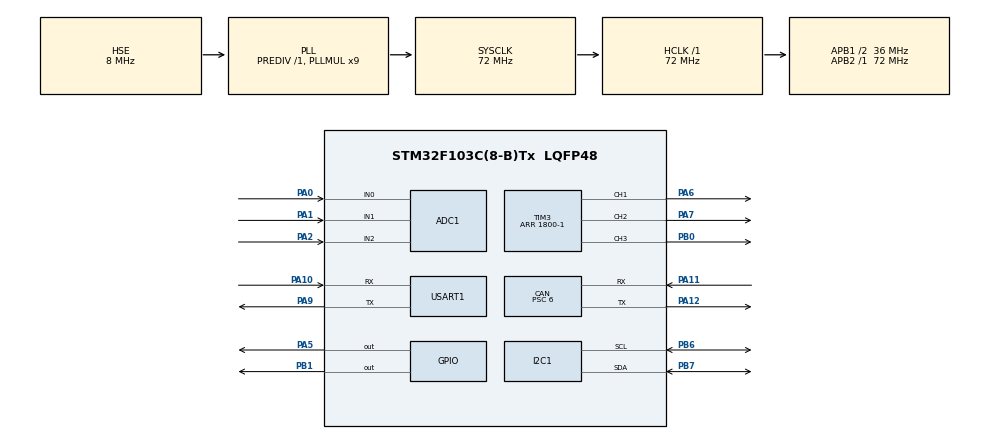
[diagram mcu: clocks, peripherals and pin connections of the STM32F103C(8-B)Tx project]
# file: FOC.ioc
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ADC1.Channel-0\#ChannelRegularConversion=ADC_CHANNEL_0
ADC1.Channel-1\#ChannelRegularConversion=ADC_CHANNEL_1
ADC1.Channel-2\#ChannelRegularConversion=ADC_CHANNEL_2
ADC1.ContinuousConvMode=ENABLE
ADC1.ExternalTrigConv=ADC_SOFTWARE_START
ADC1.NbrOfConversion=3
ADC1.NbrOfConversionFlag=1
ADC1.Rank-0\#ChannelRegularConversion=1
ADC1.Rank-1\#ChannelRegularConversion=2
ADC1.Rank-2\#ChannelRegularConversion=3
ADC1.SamplingTime-0\#ChannelRegularConversion=ADC_SAMPLETIME_1CYCLE_5
ADC1.SamplingTime-1\#ChannelRegularConversion=ADC_SAMPLETIME_1CYCLE_5
ADC1.SamplingTime-2\#ChannelRegularConversion=ADC_SAMPLETIME_1CYCLE_5
ADC1.master=1
CAN.BS1=CAN_BS1_3TQ
CAN.BS2=CAN_BS2_2TQ
CAN.CalculateBaudRate=999999
CAN.CalculateTimeBit=1000
CAN.CalculateTimeQuantum=166.66666666666669
CAN.Mode=CAN_MODE_NORMAL
CAN.Prescaler=6
Dma.ADC1.0.Direction=DMA_PERIPH_TO_MEMORY
Dma.ADC1.0.Instance=DMA1_Channel1
Dma.ADC1.0.MemDataAlignment=DMA_MDATAALIGN_HALFWORD
Dma.ADC1.0.MemInc=DMA_MINC_ENABLE
Dma.ADC1.0.Mode=DMA_CIRCULAR
Dma.ADC1.0.PeriphDataAlignment=DMA_PDATAALIGN_HALFWORD
Dma.ADC1.0.PeriphInc=DMA_PINC_DISABLE
Dma.ADC1.0.Priority=DMA_PRIORITY_LOW
Dma.Request0=ADC1
I2C1.I2C_Mode=I2C_Fast
Mcu.Family=STM32F1
Mcu.Name=STM32F103C(8-B)Tx
Mcu.Package=LQFP48
NVIC.CAN1_RX1_IRQn=true\:0\:0\:false\:false\:true\:true\:true\:true
NVIC.PriorityGroup=NVIC_PRIORITYGROUP_4
NVIC.TIM1_BRK_IRQn=true\:1\:0\:true\:false\:true\:true\:true\:true
NVIC.TIM1_CC_IRQn=true\:1\:0\:true\:false\:true\:true\:true\:true
NVIC.TIM1_TRG_COM_IRQn=true\:1\:0\:true\:false\:true\:true\:true\:true
NVIC.TIM1_UP_IRQn=true\:1\:0\:true\:false\:true\:true\:true\:true
NVIC.TIM3_IRQn=true\:0\:0\:false\:false\:true\:true\:true\:true
NVIC.USART1_IRQn=true\:0\:0\:false\:false\:true\:true\:true\:true
NVIC.USB_LP_CAN1_RX0_IRQn=true\:0\:0\:false\:false\:true\:true\:true\:true
PA0-WKUP.Signal=ADCx_IN0
PA1.Signal=ADCx_IN1
PA10.GPIO_PuPd=GPIO_PULLUP
PA10.Mode=Asynchronous
PA10.Signal=USART1_RX
PA11.Mode=CAN_Activate
PA11.Signal=CAN_RX
PA12.Mode=CAN_Activate
PA12.Signal=CAN_TX
PA13.Mode=Serial_Wire
PA13.Signal=SYS_JTMS-SWDIO
PA14.Mode=Serial_Wire
PA14.Signal=SYS_JTCK-SWCLK
PA2.Signal=ADCx_IN2
PA5.Signal=GPIO_Output
PA6.Signal=S_TIM3_CH1
PA7.Signal=S_TIM3_CH2
PA9.Mode=Asynchronous
PA9.Signal=USART1_TX
PB0.Signal=S_TIM3_CH3
PB1.Signal=GPIO_Output
PB6.Mode=I2C
PB6.Signal=I2C1_SCL
PB7.Mode=I2C
PB7.Signal=I2C1_SDA
PD0-OSC_IN.Mode=HSE-External-Oscillator
PD0-OSC_IN.Signal=RCC_OSC_IN
PD1-OSC_OUT.Mode=HSE-External-Oscillator
PD1-OSC_OUT.Signal=RCC_OSC_OUT
ProjectManager.HeapSize=0x200
ProjectManager.StackSize=0x400
ProjectManager.TargetToolchain=STM32CubeIDE
RCC.ADCPresc=RCC_ADCPCLK2_DIV6
RCC.AHBFreq_Value=72000000
RCC.APB1CLKDivider=RCC_HCLK_DIV2
RCC.APB1Freq_Value=36000000
RCC.APB1TimFreq_Value=72000000
RCC.APB2Freq_Value=72000000
RCC.APB2TimFreq_Value=72000000
RCC.HCLKFreq_Value=72000000
RCC.PLLMUL=RCC_PLL_MUL9
RCC.PLLSourceVirtual=RCC_PLLSOURCE_HSE
RCC.SYSCLKFreq_VALUE=72000000
RCC.SYSCLKSource=RCC_SYSCLKSOURCE_PLLCLK
RCC.USBFreq_Value=72000000
SH.ADCx_IN0.0=ADC1_IN0,IN0
SH.ADCx_IN1.0=ADC1_IN1,IN1
SH.ADCx_IN2.0=ADC1_IN2,IN2
SH.S_TIM3_CH1.0=TIM3_CH1,PWM Generation1 CH1
SH.S_TIM3_CH2.0=TIM3_CH2,PWM Generation2 CH2
SH.S_TIM3_CH3.0=TIM3_CH3,PWM Generation3 CH3
TIM1.Period=100-1
TIM1.Prescaler=36-1
TIM3.Channel-PWM\ Generation1\ CH1=TIM_CHANNEL_1
TIM3.Channel-PWM\ Generation2\ CH2=TIM_CHANNEL_2
TIM3.Channel-PWM\ Generation3\ CH3=TIM_CHANNEL_3
TIM3.Channel-PWM\ Generation4\ No\ Output=TIM_CHANNEL_4
TIM3.CounterMode=TIM_COUNTERMODE_CENTERALIGNED1
TIM3.OCMode_PWM-PWM\ Generation4\ No\ Output=TIM_OCMODE_PWM2
TIM3.Period=1800-1
TIM3.TIM_MasterOutputTrigger=TIM_TRGO_RESET
USART1.VirtualMode=VM_ASYNC
VP_TIM1_VS_ClockSourceINT.Mode=Internal
VP_TIM3_VS_ClockSourceINT.Mode=Internal
VP_TIM3_VS_no_output4.Mode=PWM Generation4 No Output
board=custom

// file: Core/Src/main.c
/* USER CODE BEGIN Header */
/**
  ******************************************************************************
  * @file           : main.c
  * @brief          : Main program body
  ******************************************************************************
  */
/* USER CODE END Header */
#include "main.h"
#include "adc.h"
#include "can.h"
#include "dma.h"
#include "i2c.h"
#include "tim.h"
#include "usart.h"
#include "gpio.h"

/* USER CODE BEGIN Includes */
#include "Foc.h"
#include "drv_tim.h"
#include "drv_can.h"
#include "can_proto.h"
#include "motor_msg.h"
#include "uart_proto.h"
#include "motor_ctrl.h"
#include "angle_as5600.h"
#include "pwm_3phase.h"
#include "motor_config.h"
#include "flash_storage.h"
#include "led_indicator.h"
/* 差分法观测器（角度直通，速度差分） */
/* #include "observer_diff.h" */
/* 龙伯格观测器（二阶模型，同时滤波位置和速度） */
#include "observer_luenberger.h"
/* USER CODE END Includes */

/* USER CODE BEGIN PD */

/** @brief FOC 控制频率 (Hz) —— 观测器和 FOC 共用的唯一频率源头 */
#define FOC_RATE_HZ  1000.0f

/* USER CODE END PD */

/* USER CODE BEGIN PV */
float vofa_message[8];
/* USER CODE END PV */

void SystemClock_Config(void);
/* USER CODE BEGIN PFP */
static void IWDG_Init(void);
#if MOTOR_COMMUNICATION_ENABLED
static void VOFA_SendDebug(void);
#endif
#if MOTOR_OPEN_LOOP_TEST_ACTIVE
static uint8_t ResetOneShot_ConsumeArm(void);
#endif
#if MOTOR_DIAGNOSTIC_D1
static uint8_t D1_ResetSequence_ConsumeArm(void);
static void D1_DiagnosticStep(void);
#endif
#if MOTOR_DIAGNOSTIC_D2
static uint8_t D2_ResetSequence_ConsumeArm(void);
static void D2_DiagnosticStep(void);
#endif
/* USER CODE END PFP */

/* USER CODE BEGIN 0 */
#if MOTOR_OPEN_LOOP_TEST_ACTIVE
/*
 * Two-reset safety latch for the temporary S1 capture build.
 *
 * A fresh boot (including the reset issued after ST-Link programming) writes
 * a two-word marker and remains fully disabled. Only the next manual reset
 * consumes that marker and permits one health-gated alignment attempt. The
 * marker is cleared before enabling the bridge, so a later reset arms again
 * instead of repeating the movement.
 */
#if MOTOR_SMARTKNOB_ENABLED
#define RESET_ARM_MARKER_A  0x5345U
#define RESET_ARM_MARKER_B  0x454BU
#elif MOTOR_S3B_STEP_ONE_SHOT
#define RESET_ARM_MARKER_A  0x5334U
#define RESET_ARM_MARKER_B  0x3448U
#elif MOTOR_S3_HOLD_ONE_SHOT
#define RESET_ARM_MARKER_A  0x5333U
#define RESET_ARM_MARKER_B  0x3348U
#elif MOTOR_S2_RESET_ONE_SHOT
#define RESET_ARM_MARKER_A  0x5332U
#define RESET_ARM_MARKER_B  0x3253U
#elif MOTOR_S2_OFFSET_COMMIT_ONE_SHOT
#define RESET_ARM_MARKER_A  0x5343U
#define RESET_ARM_MARKER_B  0x4353U
#else
#define RESET_ARM_MARKER_A  0x5341U
#define RESET_ARM_MARKER_B  0x314DU
#endif

static uint8_t ResetOneShot_ConsumeArm(void)
{
  uint16_t marker_a;
  uint16_t marker_b;
  uint8_t armed;

  __HAL_RCC_PWR_CLK_ENABLE();
  __HAL_RCC_BKP_CLK_ENABLE();
  PWR->CR |= PWR_CR_DBP;

  marker_a = BKP->DR1;
  marker_b = BKP->DR2;
  armed = (marker_a == RESET_ARM_MARKER_A && marker_b == RESET_ARM_MARKER_B) ? 1U : 0U;

  if (armed != 0U)
  {
    BKP->DR1 = 0U;
    BKP->DR2 = 0U;
  }
  else
  {
    BKP->DR1 = RESET_ARM_MARKER_A;
    BKP->DR2 = RESET_ARM_MARKER_B;
  }

  PWR->CR &= ~PWR_CR_DBP;
  return armed;
}
#endif

#if MOTOR_DIAGNOSTIC_D1
/*
 * D1 uses independent backup-register markers so a programming reset cannot
 * accidentally start the measurement. The first boot arms; only the next
 * manual reset consumes the arm and runs the finite diagnostic sequence.
 */
#define D1_ARM_MARKER_A  0x4431U
#define D1_ARM_MARKER_B  0x3144U

typedef enum
{
  D1_STATE_BASELINE = 0,
  D1_STATE_PWM_A,
  D1_STATE_QUIET_A,
  D1_STATE_PB1_ONLY,
  D1_STATE_QUIET_B,
  D1_STATE_PWM_B,
  D1_STATE_COMPLETE,
} D1_State_t;

static uint8_t g_d1_run_after_reset;

static uint8_t D1_ResetSequence_ConsumeArm(void)
{
  uint16_t marker_a;
  uint16_t marker_b;
  uint8_t armed;

  __HAL_RCC_PWR_CLK_ENABLE();
  __HAL_RCC_BKP_CLK_ENABLE();
  PWR->CR |= PWR_CR_DBP;

  marker_a = BKP->DR1;
  marker_b = BKP->DR2;
  armed = (marker_a == D1_ARM_MARKER_A && marker_b == D1_ARM_MARKER_B) ? 1U : 0U;

  if (armed != 0U)
  {
    BKP->DR1 = 0U;
    BKP->DR2 = 0U;
  }
  else
  {
    BKP->DR1 = D1_ARM_MARKER_A;
    BKP->DR2 = D1_ARM_MARKER_B;
  }

  PWR->CR &= ~PWR_CR_DBP;
  return armed;
}

static void D1_StopAllOutputs(void)
{
  HAL_GPIO_WritePin(GPIOB, GPIO_PIN_1, GPIO_PIN_RESET);
  __HAL_TIM_SetCompare(&htim3, TIM_CHANNEL_1, 0U);
  __HAL_TIM_SetCompare(&htim3, TIM_CHANNEL_2, 0U);
  __HAL_TIM_SetCompare(&htim3, TIM_CHANNEL_3, 0U);
  HAL_TIM_PWM_Stop(&htim3, TIM_CHANNEL_1);
  HAL_TIM_PWM_Stop(&htim3, TIM_CHANNEL_2);
  HAL_TIM_PWM_Stop(&htim3, TIM_CHANNEL_3);
}

static void D1_StartPwmOnly(void)
{
  uint32_t neutral_compare = htim3.Init.Period / 2U;

  /* PB1 stays low: these pulses must remain electrically non-driving. */
  HAL_GPIO_WritePin(GPIOB, GPIO_PIN_1, GPIO_PIN_RESET);
  __HAL_TIM_SetCompare(&htim3, TIM_CHANNEL_1, neutral_compare);
  __HAL_TIM_SetCompare(&htim3, TIM_CHANNEL_2, neutral_compare);
  __HAL_TIM_SetCompare(&htim3, TIM_CHANNEL_3, neutral_compare);
  HAL_TIM_PWM_Start(&htim3, TIM_CHANNEL_1);
  HAL_TIM_PWM_Start(&htim3, TIM_CHANNEL_2);
  HAL_TIM_PWM_Start(&htim3, TIM_CHANNEL_3);
}

static void D1_DiagnosticStep(void)
{
  static D1_State_t state = D1_STATE_BASELINE;
  static uint32_t state_start_ms;
  static uint8_t initialized;
  uint32_t now_ms = HAL_GetTick();

  if (initialized == 0U)
  {
    /* Start the baseline timer only after all peripherals are initialized. */
    D1_StopAllOutputs();
    state = D1_STATE_BASELINE;
    state_start_ms = now_ms;
    initialized = 1U;
  }

  if (g_d1_run_after_reset == 0U)
  {
    return;
  }

  switch (state)
  {
  case D1_STATE_BASELINE:
    if ((uint32_t)(now_ms - state_start_ms) >= MOTOR_DIAG_BASELINE_MS)
    {
      D1_StartPwmOnly();
      state = D1_STATE_PWM_A;
      state_start_ms = now_ms;
    }
    break;

  case D1_STATE_PWM_A:
    if ((uint32_t)(now_ms - state_start_ms) >= MOTOR_DIAG_PWM_WINDOW_MS)
    {
      D1_StopAllOutputs();
      state = D1_STATE_QUIET_A;
      state_start_ms = now_ms;
    }
    break;

  case D1_STATE_QUIET_A:
    if ((uint32_t)(now_ms - state_start_ms) >= MOTOR_DIAG_QUIET_MS)
    {
      /* PWM is explicitly stopped before this short PB1-only observation. */
      HAL_GPIO_WritePin(GPIOB, GPIO_PIN_1, GPIO_PIN_SET);
      state = D1_STATE_PB1_ONLY;
      state_start_ms = now_ms;
    }
    break;

  case D1_STATE_PB1_ONLY:
    if ((uint32_t)(now_ms - state_start_ms) >= MOTOR_DIAG_PB1_ONLY_MS)
    {
      D1_StopAllOutputs();
      state = D1_STATE_QUIET_B;
      state_start_ms = now_ms;
    }
    break;

  case D1_STATE_QUIET_B:
    if ((uint32_t)(now_ms - state_start_ms) >= MOTOR_DIAG_QUIET_MS)
    {
      D1_StartPwmOnly();
      state = D1_STATE_PWM_B;
      state_start_ms = now_ms;
    }
    break;

  case D1_STATE_PWM_B:
    if ((uint32_t)(now_ms - state_start_ms) >= MOTOR_DIAG_PWM_WINDOW_MS)
    {
      D1_StopAllOutputs();
      state = D1_STATE_COMPLETE;
      g_d1_run_after_reset = 0U;
    }
    break;

  case D1_STATE_COMPLETE:
  default:
    D1_StopAllOutputs();
    break;
  }
}
#endif
#if MOTOR_DIAGNOSTIC_D2
/*
 * D2 is a two-reset, finite diagnostic. It first shows PB1 alone, then PB1
 * with all three PWM outputs at the same 50% duty. It does not run the FOC
 * control loop, alignment, PID, speed, position, or torque control.
 */
#define D2_ARM_MARKER_A  0x4432U
#define D2_ARM_MARKER_B  0x3244U

typedef enum
{
  D2_STATE_BASELINE = 0,
  D2_STATE_PB1_ONLY,
  D2_STATE_QUIET,
  D2_STATE_COMBINED,
  D2_STATE_COMPLETE,
} D2_State_t;

static uint8_t g_d2_run_after_reset;

static uint8_t D2_ResetSequence_ConsumeArm(void)
{
  uint16_t marker_a;
  uint16_t marker_b;
  uint8_t armed;

  __HAL_RCC_PWR_CLK_ENABLE();
  __HAL_RCC_BKP_CLK_ENABLE();
  PWR->CR |= PWR_CR_DBP;

  marker_a = BKP->DR1;
  marker_b = BKP->DR2;
  armed = (marker_a == D2_ARM_MARKER_A && marker_b == D2_ARM_MARKER_B) ? 1U : 0U;

  if (armed != 0U)
  {
    BKP->DR1 = 0U;
    BKP->DR2 = 0U;
  }
  else
  {
    BKP->DR1 = D2_ARM_MARKER_A;
    BKP->DR2 = D2_ARM_MARKER_B;
  }

  PWR->CR &= ~PWR_CR_DBP;
  return armed;
}

static void D2_StopAllOutputs(void)
{
  HAL_GPIO_WritePin(GPIOB, GPIO_PIN_1, GPIO_PIN_RESET);
  __HAL_TIM_SetCompare(&htim3, TIM_CHANNEL_1, 0U);
  __HAL_TIM_SetCompare(&htim3, TIM_CHANNEL_2, 0U);
  __HAL_TIM_SetCompare(&htim3, TIM_CHANNEL_3, 0U);
  HAL_TIM_PWM_Stop(&htim3, TIM_CHANNEL_1);
  HAL_TIM_PWM_Stop(&htim3, TIM_CHANNEL_2);
  HAL_TIM_PWM_Stop(&htim3, TIM_CHANNEL_3);
}

static void D2_StartCombinedNeutral(void)
{
  uint32_t neutral_compare = htim3.Init.Period / 2U;

  HAL_GPIO_WritePin(GPIOB, GPIO_PIN_1, GPIO_PIN_RESET);
  __HAL_TIM_SetCompare(&htim3, TIM_CHANNEL_1, neutral_compare);
  __HAL_TIM_SetCompare(&htim3, TIM_CHANNEL_2, neutral_compare);
  __HAL_TIM_SetCompare(&htim3, TIM_CHANNEL_3, neutral_compare);
  HAL_TIM_PWM_Start(&htim3, TIM_CHANNEL_1);
  HAL_TIM_PWM_Start(&htim3, TIM_CHANNEL_2);
  HAL_TIM_PWM_Start(&htim3, TIM_CHANNEL_3);
  HAL_GPIO_WritePin(GPIOB, GPIO_PIN_1, GPIO_PIN_SET);
}

static void D2_DiagnosticStep(void)
{
  static D2_State_t state = D2_STATE_BASELINE;
  static uint32_t state_start_ms;
  static uint8_t initialized;
  uint32_t now_ms = HAL_GetTick();

  if (initialized == 0U)
  {
    D2_StopAllOutputs();
    state = D2_STATE_BASELINE;
    state_start_ms = now_ms;
    initialized = 1U;
  }

  if (g_d2_run_after_reset == 0U)
  {
    return;
  }

  switch (state)
  {
  case D2_STATE_BASELINE:
    if ((uint32_t)(now_ms - state_start_ms) >= MOTOR_D2_BASELINE_MS)
    {
      HAL_GPIO_WritePin(GPIOB, GPIO_PIN_1, GPIO_PIN_SET);
      state = D2_STATE_PB1_ONLY;
      state_start_ms = now_ms;
    }
    break;

  case D2_STATE_PB1_ONLY:
    if ((uint32_t)(now_ms - state_start_ms) >= MOTOR_D2_PB1_ONLY_MS)
    {
      D2_StopAllOutputs();
      state = D2_STATE_QUIET;
      state_start_ms = now_ms;
    }
    break;

  case D2_STATE_QUIET:
    if ((uint32_t)(now_ms - state_start_ms) >= MOTOR_D2_QUIET_MS)
    {
      D2_StartCombinedNeutral();
      state = D2_STATE_COMBINED;
      state_start_ms = now_ms;
    }
    break;

  case D2_STATE_COMBINED:
    if ((uint32_t)(now_ms - state_start_ms) >= MOTOR_D2_COMBINED_MS)
    {
      D2_StopAllOutputs();
      state = D2_STATE_COMPLETE;
      g_d2_run_after_reset = 0U;
    }
    break;

  case D2_STATE_COMPLETE:
  default:
    D2_StopAllOutputs();
    break;
  }
}
#endif
/* USER CODE END 0 */

int main(void)
{

  /* MCU Configuration--------------------------------------------------------*/

  /* Reset of all peripherals, Initializes the Flash interface and the Systick. */
  HAL_Init();

  /* Configure the system clock */
  SystemClock_Config();

  /* USER CODE BEGIN SysInit */
#if MOTOR_OPEN_LOOP_TEST_ACTIVE
  Motor_SetResetOneShotArmed(ResetOneShot_ConsumeArm());
#endif
#if MOTOR_DIAGNOSTIC_D1
  g_d1_run_after_reset = D1_ResetSequence_ConsumeArm();
#endif
#if MOTOR_DIAGNOSTIC_D2
  g_d2_run_after_reset = D2_ResetSequence_ConsumeArm();
#endif
  /* USER CODE END SysInit */

  /* Initialize all configured peripherals */
  MX_GPIO_Init();
  MX_DMA_Init();
  MX_I2C1_Init();
  MX_TIM3_Init();
  MX_TIM1_Init();
  MX_CAN_Init();
  MX_USART1_UART_Init();
  MX_ADC1_Init();
  /* USER CODE BEGIN 2 */

  /* ================================================================
   *  第 1 步：电机硬件配置
   *
   *  MotorConfig_t 集中管理极对数、母线电压、控制频率，
   *  同时注入 FOC 控制器和 PWM 驱动，消除重复配置。
   * ================================================================ */
  MotorConfig_t cfg = {
      .pole_pairs  = 7,
      .bus_voltage = 12.0f,
      .rate_hz     = FOC_RATE_HZ,
  };

  /* ================================================================
   *  第 2 步：创建硬件接口实例
   *
   *  AS5600_Create()  →  填充 AngleSensor_t，封装 I2C
   *  PWM3Phase_Create() → 填充 PwmOutput_t，封装 TIM3 PWM
   *                      set_duty 接收归一化值，不再需要母线电压
   *
   *  换编码器 / 换 PWM 方案 = 只改下面两行
   * ================================================================ */
  HAL_Delay(100);
  AngleSensor_t sensor = AS5600_Create(&hi2c1);
  PwmOutput_t   pwm    = PWM3Phase_Create(&htim3);
  AS5600_Poll(&hi2c1);  /* 仅主循环/初始化阶段访问 I2C，FOC ISR 读缓存 */
  HAL_Delay(100);

  /* ================================================================
   *  第 3 步：创建非易失存储接口 + 观测器 + 初始化 FOC 控制器
   *
   *  FlashStorage_Create 封装 STM32 Flash 擦写，
   *  换其它介质（EEPROM/FRAM）只需换一个工厂函数。
   *
   *  观测器（Observer）负责将原始角度转为滤波后角度和估计速度。
   *  默认用差分法（ObserverDiff_Create），换龙伯格只需：
   *     ObserverLuenberger_Config obs_cfg = { .rate_hz = FOC_RATE_HZ, ... };
   *     Observer_t angle_obs = ObserverLuenberger_Create(&obs_cfg);
   *
   *  FOC_Init(&Motor, &sensor, &pwm, &cfg, &flash, &angle_obs)
   *  所有电机参数通过 cfg 传入，存储接口通过 flash 传入。
   *
   *  ⚠ 频率改一个地方就够了：改 #define FOC_RATE_HZ，观测器和 FOC 都同步。
   * ================================================================ */
  NvStorage_t flash = FlashStorage_Create(0x0800FC00, 0xF0C0F0C0, 1024);

  /* 创建角度/速度观测器（使用龙伯格观测器，同时滤波位置和速度） */
  ObserverLuenberger_Config obs_cfg = {
      .rate_hz   = FOC_RATE_HZ,
      .l1        = 0.5f,        /* 位置校正增益——提高跟踪速度，控制滞后在 ~2ms */
      .l2        = 1.0f,        /* 速度校正增益——轻柔估计，不给速度环注入抖动 */
      .speed_max = 10000.0f,    /* 速度限幅 (rpm) */
  };
  Observer_t angle_obs = ObserverLuenberger_Create(&obs_cfg);

  FOC_Init(&Motor, &sensor, &pwm, &cfg, &flash, &angle_obs);

  /* ================================================================
   *  第 4 步：设置 PID 参数
   *
   *  PID 已做时间归一化（integral *= dt），ki 值自动适配频率。
   *  你传入原来的 ki 值即可，效果不变。
   *
   *  原代码对照：
   *    This first-run build deliberately uses a low voltage limit because the
   *    2804 has no reliable closed-loop current limit in this project.
   *
   *    pid_controller_create(&FOC_1.FOC_P_PID, 5, 0, 0, 1000, 2000, 2000);
   *    → FOC_SetPosPID(&Motor, 5, 0, 0, 2000);
   * ================================================================ */
   FOC_SetSpdPID(&Motor, DEMO_SPEED_KP, DEMO_SPEED_KI, 0.0f,
                 DEMO_MAX_UQ_V);
   FOC_SetPosPID(&Motor, DEMO_POSITION_KP, 0.0f,
                 DEMO_POSITION_KD, DEMO_POSITION_SPEED_RPM);
   FOC_SetSpdExtPID(&Motor, DEMO_SPEED_KP, DEMO_SPEED_KI, 0.0f,
                    DEMO_MAX_UQ_V);

  /* ================================================================
   *  第 5 步：初始化驱动层 + 协议层
   *
   *  【初始化顺序很重要！】
   *  CAN_Init()       : 配置滤波器 + 启动 CAN 硬件
   *  MotorMsg_Init()  : 先初始化消息总线（消息总线准备就绪前，通信回调不能写它）
   *  CANProto_Init()  : 注册 CAN 回调（收到 CAN 帧 → 调 MotorMsg_OnFrameReceived）
   *  UARTProto_Init() : 使能 UART RX 中断（收到 UART 帧 → 调 MotorMsg_OnFrameReceived）
   *  TIM_Init()       : 最后启动时基中断（TIM1 硬件 20kHz → 软件 20 分频 → 1kHz FOC 循环）
   * ================================================================ */
  MotorMsg_Init();    /* 先初始化消息总线 */
#if MOTOR_COMMUNICATION_ENABLED
  CAN_Init();
  HAL_Delay(100);
  CANProto_Init(1);    /* 再注册 CAN 回调，电机ID=1 → RX=0x001 TX=0x101 */
  UARTProto_Init();   /* 再使能 UART 接收 */
#endif
  TIM_Init();

  /* LED 初始状态：待机心跳（满亮度闪烁），覆盖默认的常灭 */
  LED_SetPattern(LED_PATTERN_HEARTBEAT);
  LED_SetBrightness(100);

  /* ================================================================
   *  第 6 步：注册控制回调
   *
   *  Motor_Loop()  : TIM1 中断 → 1kHz FOC 流水线
   * ================================================================ */
#if !MOTOR_DIAGNOSTIC_D2
  /* D2 isolates PB1/PWM coexistence, so do not run the normal FOC callback. */
  TIM_RegisterCallback(Motor_Loop);
#endif

  /* ---- 启动独立看门狗（~2s 超时，主循环 + Motor_Loop 双重喂狗） ---- */
  IWDG_Init();

  /* USER CODE END 2 */

  /* Infinite loop */
  /* USER CODE BEGIN WHILE */
  while (1)
  {
      static uint32_t last_as5600_poll_ms = 0U;
      uint32_t now_ms = HAL_GetTick();

      IWDG_REFRESH();   /* 喂独立看门狗 */
#if MOTOR_DIAGNOSTIC_D1
      D1_DiagnosticStep();
#endif
#if MOTOR_DIAGNOSTIC_D2
      D2_DiagnosticStep();
#endif
      if ((uint32_t)(now_ms - last_as5600_poll_ms) >= AS5600_POLL_PERIOD_MS)
      {
          AS5600_Poll(&hi2c1);
          last_as5600_poll_ms = now_ms;
      }
#if MOTOR_COMMUNICATION_ENABLED
      VOFA_SendDebug();
#endif
    /* USER CODE END WHILE */

  }
}

void SystemClock_Config(void)
{
  RCC_OscInitTypeDef RCC_OscInitStruct = {0};
  RCC_ClkInitTypeDef RCC_ClkInitStruct = {0};
  RCC_PeriphCLKInitTypeDef PeriphClkInit = {0};

  /** Initializes the RCC Oscillators according to the specified parameters
  * in the RCC_OscInitTypeDef structure.
  */
  RCC_OscInitStruct.OscillatorType = RCC_OSCILLATORTYPE_HSE;
  RCC_OscInitStruct.HSEState = RCC_HSE_ON;
  RCC_OscInitStruct.HSEPredivValue = RCC_HSE_PREDIV_DIV1;
  RCC_OscInitStruct.HSIState = RCC_HSI_ON;
  RCC_OscInitStruct.PLL.PLLState = RCC_PLL_ON;
  RCC_OscInitStruct.PLL.PLLSource = RCC_PLLSOURCE_HSE;
  RCC_OscInitStruct.PLL.PLLMUL = RCC_PLL_MUL9;
  if (HAL_RCC_OscConfig(&RCC_OscInitStruct) != HAL_OK)
  {
    Error_Handler();
  }

  /** Initializes the CPU, AHB and APB buses clocks
  */
  RCC_ClkInitStruct.ClockType = RCC_CLOCKTYPE_HCLK|RCC_CLOCKTYPE_SYSCLK
                              |RCC_CLOCKTYPE_PCLK1|RCC_CLOCKTYPE_PCLK2;
  RCC_ClkInitStruct.SYSCLKSource = RCC_SYSCLKSOURCE_PLLCLK;
  RCC_ClkInitStruct.AHBCLKDivider = RCC_SYSCLK_DIV1;
  RCC_ClkInitStruct.APB1CLKDivider = RCC_HCLK_DIV2;
  RCC_ClkInitStruct.APB2CLKDivider = RCC_HCLK_DIV1;

  if (HAL_RCC_ClockConfig(&RCC_ClkInitStruct, FLASH_LATENCY_2) != HAL_OK)
  {
    Error_Handler();
  }
  PeriphClkInit.PeriphClockSelection = RCC_PERIPHCLK_ADC;
  PeriphClkInit.AdcClockSelection = RCC_ADCPCLK2_DIV6;
  if (HAL_RCCEx_PeriphCLKConfig(&PeriphClkInit) != HAL_OK)
  {
    Error_Handler();
  }
}

/* USER CODE BEGIN 4 */

/**
 * @brief  初始化独立看门狗（IWDG）
 *
 * 使用 LSI ~40kHz 时钟源，预分频 /256 → ~156.25 Hz。
 * 重装载值 312 → 超时 ≈ 312 / 156.25 ≈ 2.0s。
 *
 * 配置采用寄存器直接操作，不依赖 HAL_IWDG 模块，
 * 与 IWDG_REFRESH() 宏保持一致的风格。
 *
 * 调用时机：main() 中所有外设初始化完成后、主循环开始前。
 */
static void IWDG_Init(void)
{
    /* 开启 LSI 时钟（复位后默认关闭，需先启动再等就绪） */
    RCC->CSR |= RCC_CSR_LSION;
    while (!(RCC->CSR & RCC_CSR_LSIRDY));

    /* 解锁 PR / RLR 寄存器写保护 */
    IWDG->KR = 0x5555U;

    /* 预分频器 = /256: 40kHz / 256 = 156.25 Hz */
    IWDG->PR = 0x06U;

    /* 重装载 = 312: 312 / 156.25 ≈ 2.0s */
    IWDG->RLR = 0x0138U;

    /* 刷新计数器 */
    IWDG->KR = 0xAAAAU;

    /* 软件启动 IWDG（LSI 已就绪，启动后立即开始递减计数） */
    IWDG->KR = 0xCCCCU;
}

/**
 * @brief  通过 UART1 发送调试数据到 VOFA+ 串口示波器
 *
 * 帧格式（just-float 引擎）：
 *   8 × float (32 bytes) + 4-byte tail {0x00,0x00,0x80,0x7f}
 *
 * 触发条件：仅 CAN 模式下发送（由 MotorMsg_IsCANMode 判定）
 *   CAN 模式：VOFA+ 全速发送（UART 自定义协议停发，带宽空出）
 *   UART 模式：VOFA+ 停发（UART 自定义协议 1kHz 跑满）
 *
 * 通道映射：
 *   ch0 = 机械角度 (deg)        ch1 = 目标角度 (deg)
 *   ch2 = 转速 (rpm)            ch3 = 目标转速 (rpm)
 *   ch4 = Uq 电压 (V)           ch5 = 运行模式 (int)
 *   ch6 = 最近指令目标值          ch7 = AS5600 健康状态 (0/1)
 */
#if MOTOR_COMMUNICATION_ENABLED
static void VOFA_SendDebug(void)
{
    /* 仅 CAN 模式下发送 VOFA+（UART 模式下让带宽给自定义协议 1kHz） */
    if (!MotorMsg_IsCANMode())
        return;

    vofa_message[0] = Motor.mech_angle;           /* ch0：机械角度 (deg)        */
    vofa_message[1] = Motor.target_angle;         /* ch1：目标角度 (deg)        */
    vofa_message[2] = Motor.speed;                /* ch2：转速 (rpm)            */
    vofa_message[3] = Motor.target_speed;         /* ch3：目标转速 (rpm)        */
    vofa_message[4] = Motor.Uq;                   /* ch4：Uq 输出电压 (V)       */
    vofa_message[5] = (float)MotorMsg_GetLastMode(); /* ch5：运行模式 (int)      */
    vofa_message[6] = MotorMsg_GetLastTarget();   /* ch6：最近指令目标值         */
    vofa_message[7] = (float)AS5600_IsHealthy(
        AS5600_HEALTH_MIN_SAMPLES,
        AS5600_MAX_SAMPLE_AGE_MS);                 /* ch7：AS5600 健康状态       */

    UARTProto_SendVOFA(vofa_message, 8);
}
#endif

/* USER CODE END 4 */

void Error_Handler(void)
{
  /* USER CODE BEGIN Error_Handler_Debug */
  /* 关断驱动芯片 + 禁用全部中断 */
  GPIOB->BRR = GPIO_PIN_1;
  __disable_irq();

  /* LED 快闪指示错误状态（~110ms 间隔，手动翻转 PA5，约 2s 后 IWDG 复位） */
  while (1)
  {
      /* 简单位翻转 —— 不依赖任何 ISR 或 HAL */
      GPIOA->ODR ^= GPIO_PIN_5;
      for (volatile uint32_t i = 0; i < 1000000U; i++) { }
  }
  /* USER CODE END Error_Handler_Debug */
}
